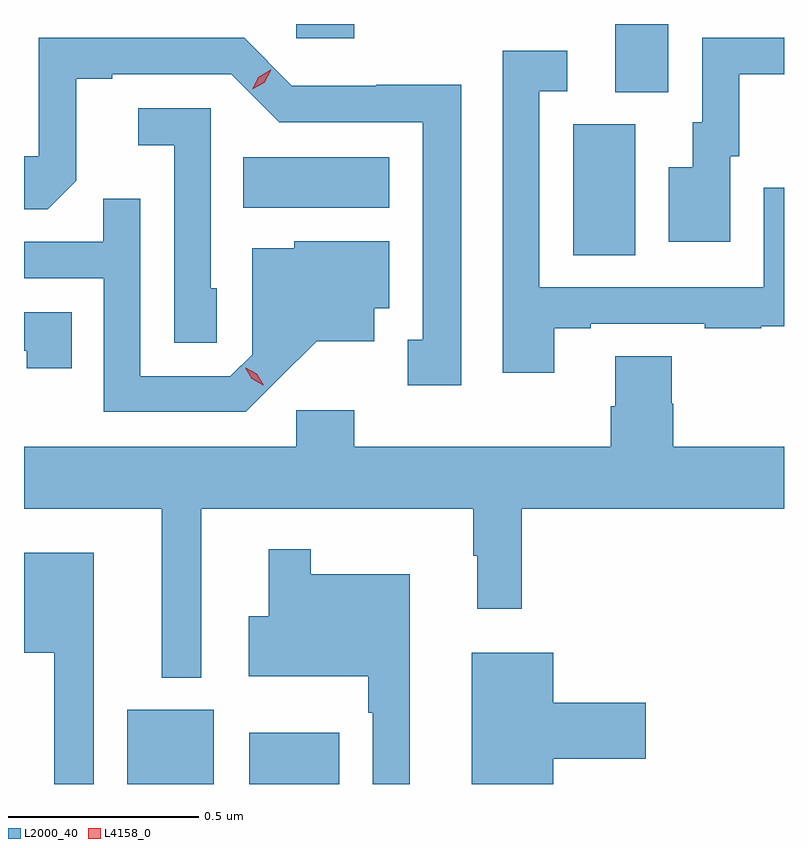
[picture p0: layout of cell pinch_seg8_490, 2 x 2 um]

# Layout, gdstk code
import gdstk
lib = gdstk.Library(unit=1e-6, precision=1e-09)
def R(c, l, rs):  # rectangles x0, y0, x1, y1
    for r in rs: c.add(gdstk.rectangle(r[:2], r[2:], *l))
def P(c, l, *ps):  # polygons
    for p in ps: c.add(gdstk.Polygon(p, *l))
L2000_40 = (2000, 40)
L4158_0 = (4158, 0)

pinch_seg8_490 = lib.new_cell('pinch_seg8_490')
R(pinch_seg8_490, L2000_40, [(185.903,1134.424,186.13,1134.619), (186.224,1134.424,186.46,1134.559), (187.076,1135.816,187.24,1136.16), (186.208,1135.94,186.592,1136.074), (187.187,1136.245,187.327,1136.424), (186.348,1136.387,186.5,1136.424)])
P(pinch_seg8_490, L2000_40, [(186.781,1136.264),(186.558,1136.264),(186.558,1136.262),(186.336,1136.262),(186.21,1136.388),(185.67,1136.388),(185.67,1136.076),(185.631,1136.076),(185.631,1135.936),(185.693,1135.936),(185.769,1136.012),(185.769,1136.28),(185.863,1136.28),(185.863,1136.292),(186.177,1136.292),(186.303,1136.166),(186.68,1136.166),(186.68,1135.593),(186.641,1135.593),(186.641,1135.473),(186.781,1135.473)],
  [(187.489,1136.076),(187.513,1136.076),(187.513,1136.292),(187.631,1136.292),(187.631,1136.388),(187.416,1136.388),(187.416,1136.166),(187.391,1136.166),(187.391,1136.047),(187.328,1136.047),(187.328,1135.851),(187.489,1135.851)],
  [(187.027,1135.623),(187.123,1135.623),(187.123,1135.635),(187.423,1135.635),(187.423,1135.623),(187.571,1135.623),(187.571,1135.629),(187.631,1135.629),(187.631,1135.993),(187.578,1135.993),(187.578,1135.731),(186.987,1135.731),(186.987,1136.247),(187.06,1136.247),(187.06,1136.353),(186.891,1136.353),(186.891,1135.506),(187.027,1135.506)],
  [(186.138,1135.728),(186.123,1135.728),(186.123,1136.202),(185.931,1136.202),(185.931,1136.105),(186.027,1136.105),(186.027,1135.585),(186.138,1135.585)],
  [(186.298,1135.487),(186.401,1135.589),(186.553,1135.589),(186.553,1135.676),(186.592,1135.676),(186.592,1135.852),(186.342,1135.852),(186.342,1135.834),(186.231,1135.834),(186.231,1135.554),(186.174,1135.497),(185.937,1135.497),(185.937,1135.964),(185.839,1135.964),(185.839,1135.851),(185.631,1135.851),(185.631,1135.755),(185.841,1135.755),(185.841,1135.404),(186.214,1135.404)],
  [(185.756,1135.665),(185.631,1135.665),(185.631,1135.564),(185.638,1135.564),(185.638,1135.518),(185.756,1135.518)],
  [(186.097,1135.148),(186.813,1135.148),(186.813,1135.025),(186.824,1135.025),(186.824,1134.885),(186.941,1134.885),(186.941,1135.148),(187.631,1135.148),(187.631,1135.312),(187.34,1135.312),(187.34,1135.425),(187.335,1135.425),(187.335,1135.55),(187.187,1135.55),(187.187,1135.418),(187.175,1135.418),(187.175,1135.312),(186.5,1135.312),(186.5,1135.408),(186.348,1135.408),(186.348,1135.312),(185.631,1135.312),(185.631,1135.148),(185.993,1135.148),(185.993,1134.704),(186.097,1134.704)],
  [(186.646,1134.976),(186.385,1134.976),(186.385,1135.042),(186.275,1135.042),(186.275,1134.865),(186.222,1134.865),(186.222,1134.707),(186.537,1134.707),(186.537,1134.611),(186.549,1134.611),(186.549,1134.424),(186.646,1134.424)],
  [(185.815,1135.033),(185.631,1135.033),(185.631,1134.77),(185.711,1134.77),(185.711,1134.424),(185.815,1134.424)],
  [(187.024,1134.491),(187.267,1134.491),(187.267,1134.638),(187.024,1134.638),(187.024,1134.769),(186.809,1134.769),(186.809,1134.424),(187.024,1134.424)])
P(pinch_seg8_490, L4158_0, [(186.231,1136.252),(186.231,1136.252),(186.248,1136.284),(186.28,1136.303),(186.281,1136.303),(186.281,1136.303),(186.263,1136.27),(186.231,1136.252)],
  [(186.261,1135.474),(186.23,1135.49),(186.213,1135.52),(186.213,1135.52),(186.214,1135.52),(186.244,1135.504),(186.262,1135.474),(186.262,1135.474)])

lib.write_gds('pinch_seg8_490.gds')
